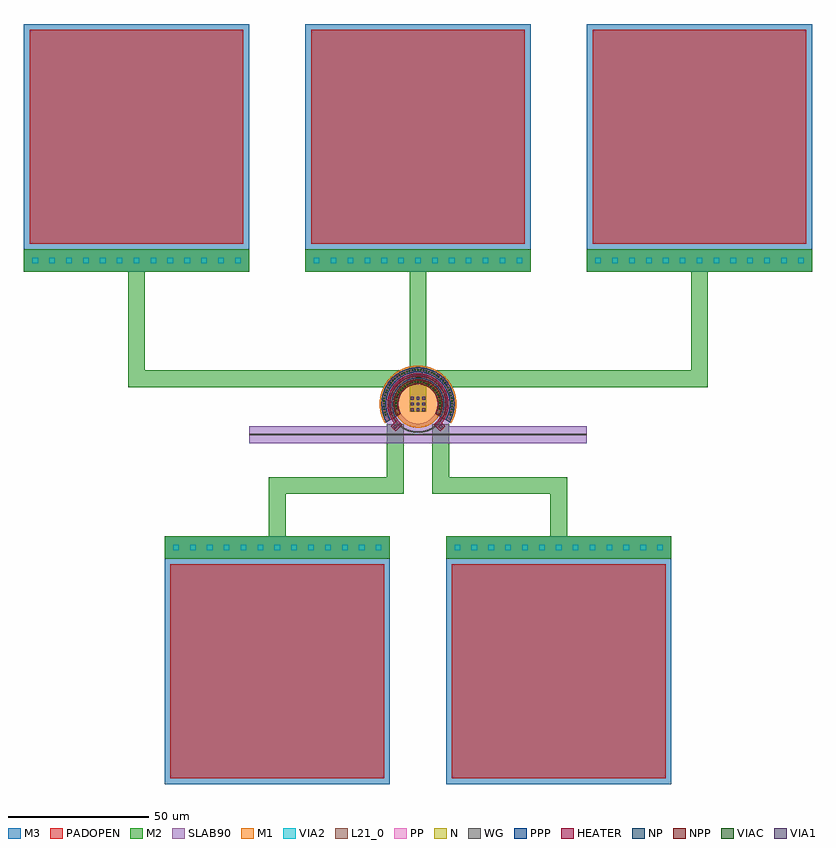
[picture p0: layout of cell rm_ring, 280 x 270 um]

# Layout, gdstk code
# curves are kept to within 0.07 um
import gdstk
lib = gdstk.Library(unit=1e-6, precision=1e-09)
def R(c, l, rs):  # rectangles x0, y0, x1, y1
    for r in rs: c.add(gdstk.rectangle(r[:2], r[2:], *l))
def A(c, l, x, y, w, h, nx, ny, dx, dy):  # array of equal rectangles
    R(c, l, [(x+i*dx, y+j*dy, x+i*dx+w, y+j*dy+h) for i in range(nx) for j in range(ny)])
def P(c, l, *ps):  # polygons
    for p in ps: c.add(gdstk.Polygon(p, *l))
WG = (1, 0)
SLAB90 = (3, 0)
N = (20, 0)
L21_0 = (21, 0)
NP = (22, 0)
PP = (23, 0)
NPP = (24, 0)
PPP = (25, 0)
VIAC = (40, 0)
M1 = (41, 0)
VIA2 = (43, 0)
VIA1 = (44, 0)
M2 = (45, 0)
PADOPEN = (46, 0)
HEATER = (47, 0)
M3 = (49, 0)

rm_ring = lib.new_cell('rm_ring')
R(rm_ring, WG, [(-60,-11.12,60,-10.62)])
P(rm_ring, WG, [(-0.089,-10.25),(-1.956,-10.062),(-2.911,-9.828),(-3.923,-9.47),(-4.891,-9.008),(-5.732,-8.498),(-6.589,-7.852),(-7.311,-7.184),(-7.966,-6.451),(-8.596,-5.583),(-9.504,-3.84),(-10.062,-1.956),(-10.203,-0.982),(-10.25,0.089),(-10.194,1.071),(-10.026,2.131),(-9.776,3.082),(-9.4,4.087),(-8.877,5.125),(-8.345,5.952),(-7.056,7.435),(-6.24,8.132),(-5.356,8.74),(-4.413,9.252),(-3.337,9.692),(-3.161,9.75),(-0.085,9.75),(-1.273,9.667),(-2.523,9.418),(-3.573,9.072),(-4.727,8.528),(-5.8,7.838),(-6.649,7.131),(-7.469,6.267),(-8.177,5.31),(-8.726,4.35),(-9.219,3.174),(-9.537,2.027),(-9.713,0.85),(-9.747,-0.255),(-9.643,-1.441),(-9.395,-2.606),(-9.008,-3.731),(-8.528,-4.727),(-7.838,-5.8),(-7.131,-6.649),(-6.267,-7.469),(-5.31,-8.177),(-4.35,-8.726),(-3.255,-9.191),(-2.027,-9.537),(-0.85,-9.713),(0.255,-9.747),(1.441,-9.643),(2.687,-9.372),(3.81,-8.975),(4.875,-8.444),(5.868,-7.787),(6.773,-7.014),(7.787,-5.868),(8.528,-4.727),(9.133,-3.415),(9.519,-2.11),(9.732,-0.595),(9.72,0.765),(9.481,2.276),(9.072,3.573),(8.268,5.167),(7.246,6.524),(5.868,7.787),(4.35,8.726),(2.851,9.324),(1.273,9.667),(0.17,9.749),(-3.161,9.75),(-1.603,10.124),(0.089,10.25),(1.956,10.062),(2.911,9.828),(3.923,9.47),(4.891,9.008),(5.732,8.498),(6.589,7.852),(7.311,7.184),(7.966,6.451),(8.596,5.583),(9.504,3.84),(10.062,1.956),(10.203,0.982),(10.25,-0.089),(10.062,-1.956),(9.828,-2.911),(9.47,-3.923),(9.008,-4.891),(8.498,-5.732),(7.852,-6.589),(7.184,-7.311),(6.451,-7.966),(5.583,-8.596),(3.84,-9.504),(1.956,-10.062),(0.982,-10.203)])
P(rm_ring, SLAB90, [(-60,-13.87),(-60,-7.87),(-10.844,-7.87),(-10.844,-7.17),(-11.83,-5.391),(-12.527,-3.474),(-12.874,-1.809),(-13,-0.113),(-12.874,1.809),(-12.465,3.692),(-11.83,5.391),(-10.954,7),(-0.061,7),(-1.575,6.821),(-3.069,6.292),(-4.405,5.44),(-5.516,4.31),(-6.292,3.069),(-6.821,1.575),(-7,0.061),(-6.821,-1.575),(-6.292,-3.069),(-5.478,-4.358),(-4.358,-5.478),(-3.069,-6.292),(-1.575,-6.821),(-0.061,-7),(1.455,-6.847),(2.903,-6.37),(4.31,-5.516),(5.516,-4.31),(6.395,-2.847),(6.894,-1.216),(6.983,0.488),(6.676,2.105),(5.904,3.761),(4.863,5.035),(4.065,5.699),(3.069,6.292),(1.988,6.712),(0.853,6.948),(-10.954,7),(-10.031,8.269),(-8.949,9.43),(-7.733,10.45),(-6.402,11.315),(-5.08,11.967),(-3.692,12.465),(-2.146,12.822),(-0.567,12.988),(1.133,12.951),(3.035,12.641),(4.659,12.137),(6.402,11.315),(7.914,10.314),(9.272,9.112),(10.45,7.733),(11.425,6.203),(12.137,4.659),(12.667,2.924),(12.951,1.133),(12.988,-0.567),(12.822,-2.146),(12.465,-3.692),(11.734,-5.597),(10.844,-7.17),(10.844,-7.87),(60,-7.87),(60,-13.87)])
P(rm_ring, N, [(-8.66,-5),(-9.455,-3.256),(-9.903,-1.392),(-9.976,0.698),(-9.659,2.588),(-8.988,4.384),(-7.934,6.088),(-6.561,7.547),(-4.924,8.704),(-3.09,9.511),(-1.132,9.936),(0.872,9.962),(2.756,9.613),(4.54,8.91),(6.157,7.88),(7.547,6.561),(8.704,4.924),(9.272,3.746),(9.703,2.419),(9.936,1.132),(10,-0.087),(9.903,-1.392),(9.659,-2.588),(9.239,-3.827),(8.66,-5),(6.056,-3.511),(6.513,-2.565),(6.807,-1.634),(6.996,0.244),(6.883,1.276),(6.619,2.279),(6.237,3.178),(5.699,4.065),(4.638,5.243),(3.286,6.181),(1.753,6.777),(0.061,7),(-1.575,6.821),(-3.178,6.237),(-4.546,5.323),(-5.699,4.065),(-6.237,3.178),(-6.619,2.279),(-6.883,1.276),(-6.996,0.244),(-6.807,-1.634),(-6.513,-2.565),(-6.056,-3.511)])
P(rm_ring, L21_0, [(-11.265,-6.489),(-12.292,-4.232),(-12.889,-1.697),(-12.976,0.794),(-12.557,3.365),(-11.634,5.801),(-10.314,7.914),(-8.529,9.811),(-6.402,11.315),(-4.017,12.364),(-1.584,12.903),(1.02,12.96),(3.474,12.527),(5.801,11.634),(8.004,10.244),(9.811,8.529),(11.315,6.402),(12.053,4.87),(12.586,3.255),(12.903,1.584),(13,-0.113),(12.874,-1.809),(12.557,-3.365),(11.967,-5.08),(11.265,-6.489),(8.66,-5),(9.272,-3.746),(9.703,-2.419),(9.936,-1.132),(9.994,0.349),(9.833,1.822),(9.511,3.09),(8.988,4.384),(8.29,5.592),(6.756,7.373),(5.736,8.192),(4.772,8.788),(3.584,9.336),(2.419,9.703),(0.087,10),(-2.25,9.744),(-3.42,9.397),(-4.54,8.91),(-5.592,8.29),(-6.561,7.547),(-7.373,6.756),(-8.192,5.736),(-8.988,4.384),(-9.511,3.09),(-9.833,1.822),(-9.994,0.349),(-9.936,-1.132),(-9.703,-2.419),(-9.272,-3.746),(-8.66,-5)])
P(rm_ring, NP, [(-8.096,-4.677),(-8.841,-3.044),(-9.259,-1.301),(-9.333,0.571),(-9.052,2.341),(-8.404,4.099),(-7.516,5.562),(-6.317,6.894),(-4.816,8.015),(-3.198,8.786),(-1.463,9.235),(0.408,9.341),(2.183,9.092),(3.951,8.474),(5.562,7.516),(6.894,6.317),(8.015,4.816),(8.575,3.728),(9.01,2.499),(9.259,1.301),(9.35,0.082),(9.29,-1.058),(9.052,-2.341),(8.669,-3.503),(8.096,-4.677),(6.056,-3.511),(6.513,-2.565),(6.807,-1.634),(6.996,0.244),(6.883,1.276),(6.619,2.279),(5.769,3.965),(4.684,5.202),(3.286,6.181),(1.753,6.777),(0.061,7),(-1.634,6.807),(-3.286,6.181),(-4.684,5.202),(-5.769,3.965),(-6.619,2.279),(-6.883,1.276),(-6.996,0.244),(-6.807,-1.634),(-6.513,-2.565),(-6.056,-3.511)])
P(rm_ring, PP, [(-11.265,-6.489),(-12.292,-4.232),(-12.889,-1.697),(-12.976,0.794),(-12.557,3.365),(-11.634,5.801),(-10.314,7.914),(-8.529,9.811),(-6.402,11.315),(-4.017,12.364),(-1.584,12.903),(1.02,12.96),(3.474,12.527),(5.801,11.634),(8.004,10.244),(9.811,8.529),(11.315,6.402),(12.053,4.87),(12.586,3.255),(12.903,1.584),(13,-0.113),(12.874,-1.809),(12.557,-3.365),(11.967,-5.08),(11.265,-6.489),(9.225,-5.323),(9.875,-3.99),(10.334,-2.576),(10.592,-1.113),(10.644,0.372),(10.504,1.758),(10.157,3.203),(9.613,4.585),(8.932,5.8),(8.158,6.846),(7.263,7.789),(6.26,8.616),(5.163,9.315),(3.99,9.875),(2.667,10.311),(1.39,10.559),(0.093,10.65),(-1.206,10.582),(-2.486,10.356),(-3.73,9.976),(-4.918,9.447),(-6.109,8.724),(-7.195,7.852),(-8.098,6.917),(-8.881,5.878),(-9.613,4.585),(-10.129,3.291),(-10.472,1.941),(-10.644,0.372),(-10.592,-1.113),(-10.334,-2.576),(-9.875,-3.99),(-9.225,-5.323)])
P(rm_ring, NPP, [(-7.575,-4.38),(-8.273,-2.849),(-8.665,-1.218),(-8.734,0.534),(-8.452,2.265),(-7.831,3.904),(-6.942,5.327),(-5.741,6.604),(-4.309,7.616),(-2.704,8.322),(-1.066,8.685),(0.61,8.729),(2.338,8.432),(3.904,7.831),(5.327,6.942),(6.604,5.741),(7.616,4.309),(8.452,2.265),(8.685,1.066),(8.75,-0.076),(8.452,-2.265),(8.084,-3.348),(7.575,-4.38),(6.056,-3.511),(6.777,-1.753),(6.998,0.183),(6.676,2.105),(5.837,3.864),(4.729,5.161),(3.34,6.152),(1.753,6.777),(0.061,7),(-1.634,6.807),(-3.286,6.181),(-4.684,5.202),(-5.837,3.864),(-6.676,2.105),(-6.998,0.183),(-6.777,-1.753),(-6.056,-3.511)])
P(rm_ring, PPP, [(-11.265,-6.489),(-12.292,-4.232),(-12.889,-1.697),(-12.976,0.794),(-12.557,3.365),(-11.634,5.801),(-10.314,7.914),(-8.529,9.811),(-6.402,11.315),(-4.017,12.364),(-1.584,12.903),(1.02,12.96),(3.474,12.527),(5.801,11.634),(8.004,10.244),(9.811,8.529),(11.315,6.402),(12.053,4.87),(12.586,3.255),(12.903,1.584),(13,-0.113),(12.874,-1.809),(12.557,-3.365),(11.967,-5.08),(11.265,-6.489),(9.746,-5.62),(10.637,-3.663),(11.141,-1.566),(11.235,0.589),(10.962,2.531),(10.503,4.032),(9.792,5.54),(8.925,6.849),(7.815,8.093),(6.453,9.215),(4.843,10.154),(3.195,10.787),(1.468,11.154),(-0.294,11.246),(-2.05,11.062),(-3.848,10.572),(-5.54,9.792),(-7.156,8.681),(-8.681,7.156),(-9.792,5.54),(-10.605,3.755),(-11.154,1.468),(-11.207,-0.981),(-10.729,-3.383),(-9.746,-5.62)])
R(rm_ring, VIAC, [(-0.25,7.6,0.25,8.1), (-0.25,11.9,0.25,12.4)])
P(rm_ring, VIAC, [(-11.683,-4.164),(-11.841,-3.689),(-11.367,-3.531),(-11.208,-4.005)],
  [(11.683,-4.164),(11.208,-4.005),(11.367,-3.531),(11.841,-3.689)],
  [(-11.985,-3.189),(-12.104,-2.704),(-11.619,-2.585),(-11.5,-3.07)],
  [(11.985,-3.189),(11.5,-3.07),(11.619,-2.585),(12.104,-2.704)],
  [(-12.207,-2.193),(-12.286,-1.699),(-11.792,-1.621),(-11.713,-2.115)],
  [(12.207,-2.193),(11.713,-2.115),(11.792,-1.621),(12.286,-1.699)],
  [(-7.865,-1.954),(-7.97,-1.465),(-7.482,-1.36),(-7.376,-1.848)],
  [(7.865,-1.954),(7.376,-1.848),(7.482,-1.36),(7.97,-1.465)],
  [(-12.346,-1.182),(-12.384,-0.683),(-11.885,-0.646),(-11.847,-1.144)],
  [(12.346,-1.182),(11.847,-1.144),(11.885,-0.646),(12.384,-0.683)],
  [(-8.049,-0.939),(-8.092,-0.441),(-7.594,-0.398),(-7.551,-0.896)],
  [(8.049,-0.939),(7.551,-0.896),(7.594,-0.398),(8.092,-0.441)],
  [(-11.901,-0.167),(-12.401,-0.163),(-12.398,0.337),(-11.898,0.333)],
  [(11.901,-0.167),(11.898,0.333),(12.398,0.337),(12.401,-0.163)],
  [(-7.604,0.07),(-8.103,0.091),(-8.082,0.591),(-7.583,0.57)],
  [(7.604,0.07),(7.583,0.57),(8.082,0.591),(8.103,0.091)],
  [(-11.875,0.812),(-12.373,0.857),(-12.328,1.355),(-11.83,1.31)],
  [(11.875,0.812),(11.83,1.31),(12.328,1.355),(12.373,0.857)],
  [(-7.533,1.036),(-8.026,1.12),(-7.942,1.613),(-7.449,1.529)],
  [(7.533,1.036),(7.449,1.529),(7.942,1.613),(8.026,1.12)],
  [(-11.768,1.786),(-12.261,1.871),(-12.175,2.364),(-11.682,2.279)],
  [(11.768,1.786),(11.682,2.279),(12.175,2.364),(12.261,1.871)],
  [(-7.341,1.984),(-7.819,2.131),(-7.672,2.609),(-7.194,2.463)],
  [(7.341,1.984),(7.194,2.463),(7.672,2.609),(7.819,2.131)],
  [(-11.581,2.747),(-12.065,2.873),(-11.94,3.357),(-11.456,3.231)],
  [(11.581,2.747),(11.456,3.231),(11.94,3.357),(12.065,2.873)],
  [(-7.029,2.901),(-7.485,3.107),(-7.279,3.562),(-6.823,3.357)],
  [(7.029,2.901),(6.823,3.357),(7.279,3.562),(7.485,3.107)],
  [(-11.316,3.69),(-11.788,3.855),(-11.623,4.327),(-11.151,4.162)],
  [(11.316,3.69),(11.151,4.162),(11.623,4.327),(11.788,3.855)],
  [(-6.604,3.77),(-7.029,4.033),(-6.767,4.458),(-6.341,4.196)],
  [(6.604,3.77),(6.341,4.196),(6.767,4.458),(7.029,4.033)],
  [(-10.974,4.608),(-11.431,4.811),(-11.228,5.268),(-10.771,5.065)],
  [(10.974,4.608),(10.771,5.065),(11.228,5.268),(11.431,4.811)],
  [(-6.071,4.579),(-6.46,4.893),(-6.146,5.282),(-5.757,4.968)],
  [(6.071,4.579),(5.757,4.968),(6.146,5.282),(6.46,4.893)],
  [(-5.44,5.313),(-5.786,5.674),(-5.425,6.02),(-5.079,5.659)],
  [(5.44,5.313),(5.079,5.659),(5.425,6.02),(5.786,5.674)],
  [(-10.558,5.495),(-10.997,5.735),(-10.757,6.173),(-10.318,5.933)],
  [(10.558,5.495),(10.318,5.933),(10.757,6.173),(10.997,5.735)],
  [(-4.721,5.961),(-5.018,6.363),(-4.616,6.66),(-4.319,6.258)],
  [(4.721,5.961),(4.319,6.258),(4.616,6.66),(5.018,6.363)],
  [(-10.071,6.344),(-10.488,6.619),(-10.213,7.037),(-9.796,6.761)],
  [(10.071,6.344),(9.796,6.761),(10.213,7.037),(10.488,6.619)],
  [(-3.925,6.513),(-4.169,6.949),(-3.733,7.193),(-3.489,6.756)],
  [(3.925,6.513),(3.489,6.756),(3.733,7.193),(4.169,6.949)],
  [(-3.066,6.958),(-3.253,7.422),(-2.789,7.609),(-2.602,7.145)],
  [(3.066,6.958),(2.602,7.145),(2.789,7.609),(3.253,7.422)],
  [(-9.515,7.151),(-9.909,7.459),(-9.6,7.853),(-9.207,7.544)],
  [(9.515,7.151),(9.207,7.544),(9.6,7.853),(9.909,7.459)],
  [(-2.157,7.292),(-2.283,7.776),(-1.8,7.902),(-1.673,7.418)],
  [(2.157,7.292),(1.673,7.418),(1.8,7.902),(2.283,7.776)],
  [(-1.214,7.507),(-1.277,8.003),(-0.781,8.066),(-0.718,7.57)],
  [(1.214,7.507),(0.718,7.57),(0.781,8.066),(1.277,8.003)],
  [(-8.895,7.909),(-9.262,8.249),(-8.922,8.615),(-8.555,8.275)],
  [(8.895,7.909),(8.555,8.275),(8.922,8.615),(9.262,8.249)],
  [(-8.215,8.613),(-8.552,8.982),(-8.183,9.32),(-7.846,8.951)],
  [(8.215,8.613),(7.846,8.951),(8.183,9.32),(8.552,8.982)],
  [(-7.479,9.259),(-7.785,9.655),(-7.39,9.961),(-7.084,9.565)],
  [(7.479,9.259),(7.084,9.565),(7.39,9.961),(7.785,9.655)],
  [(-6.693,9.843),(-6.965,10.262),(-6.546,10.535),(-6.273,10.115)],
  [(6.693,9.843),(6.273,10.115),(6.546,10.535),(6.965,10.262)],
  [(-5.861,10.36),(-6.098,10.8),(-5.657,11.037),(-5.42,10.597)],
  [(5.861,10.36),(5.42,10.597),(5.657,11.037),(6.098,10.8)],
  [(-4.989,10.807),(-5.189,11.265),(-4.731,11.465),(-4.531,11.007)],
  [(4.989,10.807),(4.531,11.007),(4.731,11.465),(5.189,11.265)],
  [(-4.084,11.18),(-4.246,11.653),(-3.772,11.815),(-3.611,11.342)],
  [(4.084,11.18),(3.611,11.342),(3.772,11.815),(4.246,11.653)],
  [(-3.151,11.478),(-3.273,11.963),(-2.788,12.085),(-2.666,11.6)],
  [(3.151,11.478),(2.666,11.6),(2.788,12.085),(3.273,11.963)],
  [(-2.197,11.698),(-2.279,12.191),(-1.785,12.273),(-1.703,11.78)],
  [(2.197,11.698),(1.703,11.78),(1.785,12.273),(2.279,12.191)],
  [(-1.227,11.839),(-1.269,12.337),(-0.77,12.379),(-0.729,11.88)],
  [(1.227,11.839),(0.729,11.88),(0.77,12.379),(1.269,12.337)])
P(rm_ring, M1, [(-0.073,-8.4),(-1.603,-8.246),(-3.215,-7.761),(-4.636,-7.005),(-5.94,-5.94),(-7.005,-4.636),(-7.761,-3.215),(-8.246,-1.603),(-8.4,0.073),(-8.246,1.603),(-7.761,3.215),(-7.005,4.636),(-5.94,5.94),(-4.636,7.005),(-3.215,7.761),(-1.603,8.246),(0.073,8.4),(1.603,8.246),(3.215,7.761),(4.636,7.005),(5.94,5.94),(7.005,4.636),(7.761,3.215),(8.246,1.603),(8.4,-0.073),(8.246,-1.603),(7.761,-3.215),(7.005,-4.636),(5.94,-5.94),(4.636,-7.005),(3.215,-7.761),(1.603,-8.246)],
  [(-11.778,-6.8),(-12.859,-4.428),(-13.484,-1.775),(-13.575,0.83),(-13.137,3.52),(-12.224,5.962),(-10.79,8.279),(-9.012,10.186),(-6.8,11.778),(-4.428,12.859),(-1.775,13.484),(0.83,13.575),(3.52,13.137),(5.962,12.224),(8.279,10.79),(10.186,9.012),(11.778,6.8),(12.565,5.204),(13.137,3.52),(13.484,1.775),(13.6,0),(13.484,-1.775),(13.137,-3.52),(12.565,-5.204),(11.778,-6.8),(10.046,-5.8),(10.717,-4.439),(11.231,-2.904),(11.514,-1.414),(11.596,0.304),(11.441,1.915),(11.093,3.392),(10.556,4.81),(9.783,6.233),(8.951,7.379),(7.911,8.484),(6.818,9.385),(5.624,10.146),(4.251,10.793),(2.904,11.231),(1.514,11.501),(0.101,11.6),(-1.414,11.514),(-2.708,11.279),(-4.157,10.83),(-5.446,10.242),(-6.736,9.444),(-7.837,8.552),(-8.821,7.534),(-9.729,6.318),(-10.556,4.81),(-11.093,3.392),(-11.441,1.915),(-11.596,0.304),(-11.514,-1.414),(-11.231,-2.904),(-10.717,-4.439),(-10.046,-5.8)])
A(rm_ring, VIA2, -87, -52, 2, 2, 13, 1, 6, 0)
A(rm_ring, VIA2, 13, -52, 2, 2, 13, 1, 6, 0)
A(rm_ring, VIA2, -137, 50, 2, 2, 13, 1, 6, 0)
A(rm_ring, VIA2, -37, 50, 2, 2, 13, 1, 6, 0)
A(rm_ring, VIA2, 63, 50, 2, 2, 13, 1, 6, 0)
A(rm_ring, VIA1, -2.5, -2.5, 1, 1, 3, 3, 2, 2)
P(rm_ring, VIA1, [(-8.132,-8.839),(-8.839,-8.132),(-8.132,-7.425),(-7.425,-8.132)],
  [(8.132,-8.839),(7.425,-8.132),(8.132,-7.425),(8.839,-8.132)],
  [(-10.094,6.691),(-10.904,7.277),(-10.318,8.087),(-9.508,7.501)],
  [(10.094,6.691),(9.508,7.501),(10.318,8.087),(10.904,7.277)],
  [(-8.91,8.202),(-9.617,8.91),(-8.91,9.617),(-8.202,8.91)],
  [(8.91,8.202),(8.202,8.91),(8.91,9.617),(9.617,8.91)],
  [(-7.501,9.508),(-8.087,10.318),(-7.277,10.904),(-6.691,10.094)],
  [(7.501,9.508),(6.691,10.094),(7.277,10.904),(8.087,10.318)])
P(rm_ring, M2, [(-90,-55),(-90,-47),(-53,-47),(-53,-25.935),(-11.132,-25.935),(-11.132,-7.125),(-5.132,-7.125),(-5.132,-31.935),(-47,-31.935),(-47,-47),(-10,-47),(-10,-55)],
  [(10,-55),(10,-47),(47,-47),(47,-31.935),(5.132,-31.935),(5.132,-7.125),(11.132,-7.125),(11.132,-25.935),(53,-25.935),(53,-47),(90,-47),(90,-55)],
  [(-103,5.91),(-103,47),(-140,47),(-140,55),(-60,55),(-60,47),(-97,47),(-97,11.91),(-6.391,11.91),(-6.391,5.91)],
  [(-3,-2.8),(-3,47),(-40,47),(-40,55),(40,55),(40,47),(3,47),(3,-2.8)],
  [(6.391,5.91),(6.391,11.91),(97,11.91),(97,47),(60,47),(60,55),(140,55),(140,47),(103,47),(103,5.91)])
A(rm_ring, PADOPEN, -138, 57, 76, 76, 3, 1, 100, 0)
R(rm_ring, PADOPEN, [(-88,-133,-12,-57), (12,-133,88,-57)])
P(rm_ring, HEATER, [(-7.92,-9.617),(-9.617,-7.92),(-8.438,-6.741),(-9.4,-5.318),(-10.149,-3.694),(-10.602,-2.061),(-10.796,-0.283),(-10.667,1.689),(-10.212,3.516),(-9.446,5.236),(-8.334,6.87),(-6.87,8.334),(-5.07,9.536),(-3.158,10.328),(-1.129,10.741),(1.129,10.741),(3.158,10.328),(5.07,9.536),(6.87,8.334),(8.334,6.87),(9.353,5.4),(10.181,3.605),(10.652,1.783),(10.79,-0.471),(10.456,-2.704),(9.665,-4.819),(8.438,-6.741),(9.617,-7.92),(7.92,-9.617),(5.657,-7.354),(7.048,-5.914),(7.886,-4.738),(8.589,-3.297),(9.046,-1.677),(9.2,-0.08),(9.046,1.677),(8.589,3.297),(7.844,4.807),(7.048,5.914),(6.156,6.837),(5.145,7.627),(4.033,8.269),(2.919,8.725),(1.677,9.046),(0.401,9.191),(-0.882,9.158),(-2.148,8.946),(-3.372,8.56),(-4.46,8.047),(-5.601,7.299),(-6.562,6.448),(-7.347,5.537),(-8.047,4.46),(-8.589,3.297),(-8.999,1.913),(-9.183,0.562),(-9.15,-0.962),(-8.887,-2.381),(-8.405,-3.742),(-7.716,-5.011),(-6.943,-6.036),(-5.657,-7.354)])
A(rm_ring, M3, -140, 47, 80, 88, 3, 1, 100, 0)
R(rm_ring, M3, [(-90,-135,-10,-47), (10,-135,90,-47)])

lib.write_gds('rm_ring.gds')
